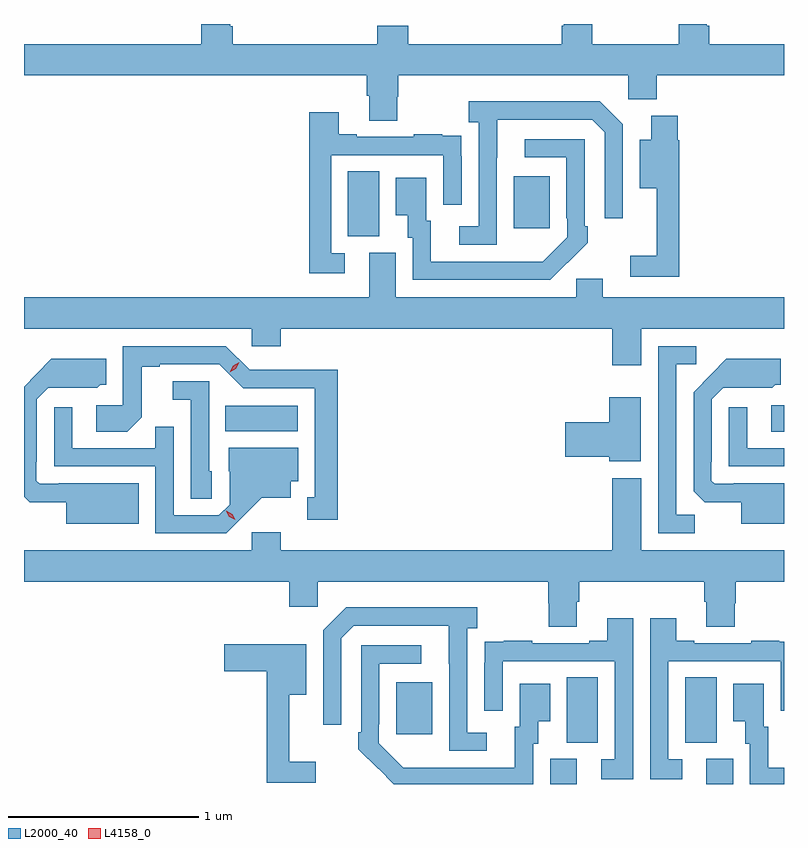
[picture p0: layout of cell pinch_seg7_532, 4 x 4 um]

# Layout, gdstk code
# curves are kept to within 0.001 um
import gdstk
lib = gdstk.Library(unit=1e-6, precision=1e-09)
def R(c, l, rs):  # rectangles x0, y0, x1, y1
    for r in rs: c.add(gdstk.rectangle(r[:2], r[2:], *l))
def P(c, l, *ps):  # polygons
    for p in ps: c.add(gdstk.Polygon(p, *l))
L2000_40 = (2000, 40)
L4158_0 = (4158, 0)

pinch_seg7_532 = lib.new_cell('pinch_seg7_532')
R(pinch_seg7_532, L2000_40, [(148.625,1070.147,148.765,1070.28), (149.447,1070.147,149.587,1070.28), (148.712,1070.365,148.876,1070.708), (149.336,1070.365,149.5,1070.708), (147.815,1070.409,148.003,1070.683), (149.787,1072,149.855,1072.14), (146.914,1072.004,147.295,1072.138), (147.56,1073.029,147.724,1073.372), (148.433,1073.073,148.621,1073.347)])
P(pinch_seg7_532, L2000_40, [(149.855,1074.04),(149.462,1074.04),(149.462,1074.138),(149.449,1074.138),(149.449,1074.147),(149.302,1074.147),(149.302,1074.04),(148.845,1074.04),(148.845,1074.147),(148.697,1074.147),(148.697,1074.138),(148.685,1074.138),(148.685,1074.04),(147.878,1074.04),(147.878,1074.139),(147.713,1074.139),(147.713,1074.04),(146.954,1074.04),(146.954,1074.136),(146.941,1074.136),(146.941,1074.147),(146.789,1074.147),(146.789,1074.04),(145.855,1074.04),(145.855,1073.876),(147.659,1073.876),(147.659,1073.77),(147.671,1073.77),(147.671,1073.638),(147.819,1073.638),(147.819,1073.763),(147.824,1073.763),(147.824,1073.876),(149.034,1073.876),(149.034,1073.75),(149.186,1073.75),(149.186,1073.876),(149.855,1073.876)],
  [(148.344,1073.443),(148.345,1073.643),(148.845,1073.643),(148.911,1073.577),(148.911,1073.124),(149.007,1073.124),(149.007,1073.619),(148.886,1073.74),(148.197,1073.74),(148.197,1073.63),(148.248,1073.63),(148.248,1073.082),(148.146,1073.082),(148.146,1072.986),(148.344,1072.986)],
  [(147.544,1072.941),(147.471,1072.941),(147.471,1073.457),(148.062,1073.457),(148.062,1073.196),(148.158,1073.196),(148.158,1073.45),(148.157,1073.45),(148.157,1073.559),(148.055,1073.559),(148.055,1073.566),(147.907,1073.566),(147.907,1073.553),(147.607,1073.553),(147.607,1073.566),(147.511,1073.566),(147.511,1073.683),(147.355,1073.683),(147.355,1072.836),(147.544,1072.836)],
  [(149.303,1073.535),(149.297,1073.535),(149.297,1073.665),(149.156,1073.665),(149.156,1073.539),(149.096,1073.539),(149.096,1073.282),(149.186,1073.282),(149.186,1072.927),(149.046,1072.927),(149.046,1072.818),(149.303,1072.818)],
  [(148.715,1072.891),(148.716,1072.89),(148.821,1072.995),(148.821,1073.083),(148.806,1073.083),(148.806,1073.541),(148.491,1073.541),(148.491,1073.445),(148.71,1073.445),(148.71,1073.125),(148.713,1073.125),(148.713,1073.025),(148.585,1072.897),(147.997,1072.896),(147.997,1073.112),(147.973,1073.112),(147.973,1073.338),(147.812,1073.338),(147.812,1073.141),(147.875,1073.141),(147.875,1073.022),(147.9,1073.022),(147.9,1072.8),(148.624,1072.8)],
  [(149.104,1072.544),(149.855,1072.544),(149.855,1072.708),(148.9,1072.708),(148.9,1072.806),(148.761,1072.806),(148.761,1072.708),(147.811,1072.708),(147.811,1072.944),(147.671,1072.944),(147.671,1072.708),(145.855,1072.708),(145.855,1072.544),(147.054,1072.544),(147.054,1072.451),(147.206,1072.451),(147.206,1072.544),(148.952,1072.544),(148.952,1072.35),(149.104,1072.35)],
  [(149.385,1071.563),(149.289,1071.563),(149.289,1072.356),(149.392,1072.356),(149.392,1072.452),(149.193,1072.452),(149.193,1071.468),(149.385,1071.468)],
  [(147.505,1072.328),(147.264,1072.328),(147.264,1072.326),(147.042,1072.326),(146.916,1072.452),(146.376,1072.452),(146.376,1072.14),(146.235,1072.14),(146.235,1072),(146.399,1072),(146.475,1072.076),(146.475,1072.344),(146.569,1072.344),(146.569,1072.356),(146.883,1072.356),(147.009,1072.23),(147.386,1072.23),(147.386,1071.657),(147.347,1071.657),(147.347,1071.537),(147.505,1071.537)],
  [(149.855,1071.73),(149.59,1071.73),(149.59,1071.726),(149.49,1071.726),(149.472,1071.744),(149.472,1071.844),(149.475,1071.844),(149.475,1072.173),(149.535,1072.233),(149.792,1072.232),(149.808,1072.248),(149.839,1072.248),(149.839,1072.384),(149.551,1072.384),(149.379,1072.21),(149.379,1071.688),(149.438,1071.629),(149.63,1071.629),(149.63,1071.518),(149.855,1071.518)],
  [(146.458,1071.73),(146.038,1071.73),(146.038,1071.726),(145.938,1071.726),(145.92,1071.744),(145.92,1071.844),(145.923,1071.844),(145.923,1072.173),(145.983,1072.233),(146.24,1072.232),(146.256,1072.248),(146.287,1072.248),(146.287,1072.384),(145.999,1072.384),(145.855,1072.238),(145.855,1071.66),(145.886,1071.629),(146.078,1071.629),(146.078,1071.518),(146.458,1071.518)],
  [(146.844,1071.792),(146.829,1071.792),(146.829,1072.266),(146.637,1072.266),(146.637,1072.169),(146.733,1072.169),(146.733,1071.649),(146.844,1071.649)],
  [(149.101,1072.183),(148.934,1072.183),(148.934,1072.052),(148.704,1072.052),(148.704,1071.869),(148.934,1071.869),(148.934,1071.845),(149.101,1071.845)],
  [(147.004,1071.551),(147.107,1071.653),(147.259,1071.653),(147.259,1071.74),(147.298,1071.74),(147.298,1071.916),(146.933,1071.916),(146.933,1071.792),(146.937,1071.792),(146.937,1071.618),(146.88,1071.561),(146.643,1071.561),(146.643,1072.028),(146.545,1072.028),(146.545,1071.915),(146.109,1071.915),(146.109,1072.129),(146.013,1072.129),(146.013,1071.819),(146.547,1071.819),(146.547,1071.468),(146.92,1071.468)],
  [(149.855,1071.915),(149.661,1071.915),(149.661,1072.129),(149.565,1072.129),(149.565,1071.819),(149.855,1071.819)],
  [(148.765,1071.106),(148.778,1071.106),(148.778,1071.212),(149.435,1071.212),(149.435,1071.106),(149.447,1071.106),(149.447,1070.974),(149.595,1070.974),(149.595,1071.099),(149.6,1071.099),(149.6,1071.212),(149.855,1071.212),(149.855,1071.376),(149.104,1071.376),(149.104,1071.757),(148.952,1071.757),(148.952,1071.376),(147.206,1071.376),(147.206,1071.472),(147.054,1071.472),(147.054,1071.376),(145.855,1071.376),(145.855,1071.212),(147.251,1071.212),(147.251,1071.081),(147.402,1071.081),(147.402,1071.212),(148.613,1071.212),(148.613,1071.099),(148.618,1071.099),(148.618,1070.974),(148.765,1070.974)],
  [(148.291,1070.418),(148.188,1070.418),(148.188,1070.966),(148.24,1070.966),(148.24,1071.076),(147.55,1071.076),(147.429,1070.955),(147.429,1070.46),(147.525,1070.46),(147.525,1070.913),(147.591,1070.979),(148.091,1070.979),(148.092,1070.322),(148.291,1070.322)],
  [(149.32,1070.277),(149.247,1070.277),(149.247,1070.793),(149.838,1070.793),(149.838,1070.532),(149.855,1070.532),(149.855,1070.895),(149.831,1070.895),(149.831,1070.902),(149.683,1070.902),(149.683,1070.889),(149.383,1070.889),(149.383,1070.902),(149.287,1070.902),(149.287,1071.019),(149.151,1071.019),(149.151,1070.172),(149.32,1070.172)],
  [(149.061,1071.019),(148.925,1071.019),(148.925,1070.902),(148.829,1070.902),(148.829,1070.889),(148.529,1070.889),(148.529,1070.902),(148.381,1070.902),(148.381,1070.895),(148.279,1070.895),(148.279,1070.786),(148.278,1070.786),(148.278,1070.532),(148.374,1070.532),(148.374,1070.793),(148.965,1070.793),(148.965,1070.277),(148.893,1070.277),(148.893,1070.172),(149.061,1070.172)],
  [(147.391,1070.263),(147.251,1070.263),(147.251,1070.618),(147.34,1070.618),(147.34,1070.883),(146.91,1070.883),(146.91,1070.741),(147.133,1070.741),(147.133,1070.154),(147.391,1070.154)],
  [(148.536,1070.358),(148.561,1070.358),(148.561,1070.477),(148.624,1070.477),(148.624,1070.674),(148.463,1070.674),(148.463,1070.448),(148.439,1070.448),(148.439,1070.232),(147.852,1070.233),(147.723,1070.361),(147.723,1070.461),(147.726,1070.461),(147.726,1070.781),(147.946,1070.781),(147.946,1070.877),(147.63,1070.877),(147.63,1070.419),(147.615,1070.419),(147.615,1070.331),(147.801,1070.147),(148.536,1070.147)],
  [(149.855,1070.232),(149.773,1070.232),(149.773,1070.448),(149.749,1070.448),(149.749,1070.674),(149.588,1070.674),(149.588,1070.477),(149.651,1070.477),(149.651,1070.358),(149.676,1070.358),(149.676,1070.147),(149.855,1070.147)])
P(pinch_seg7_532, L4158_0, [(146.937,1072.315),(146.937,1072.315),(146.955,1072.348),(146.987,1072.366),(146.988,1072.366),(146.988,1072.366),(146.97,1072.333),(146.938,1072.315)],
  [(146.966,1071.538),(146.936,1071.554),(146.919,1071.583),(146.919,1071.584),(146.919,1071.584),(146.95,1071.568),(146.967,1071.538),(146.967,1071.538)])

lib.write_gds('pinch_seg7_532.gds')
